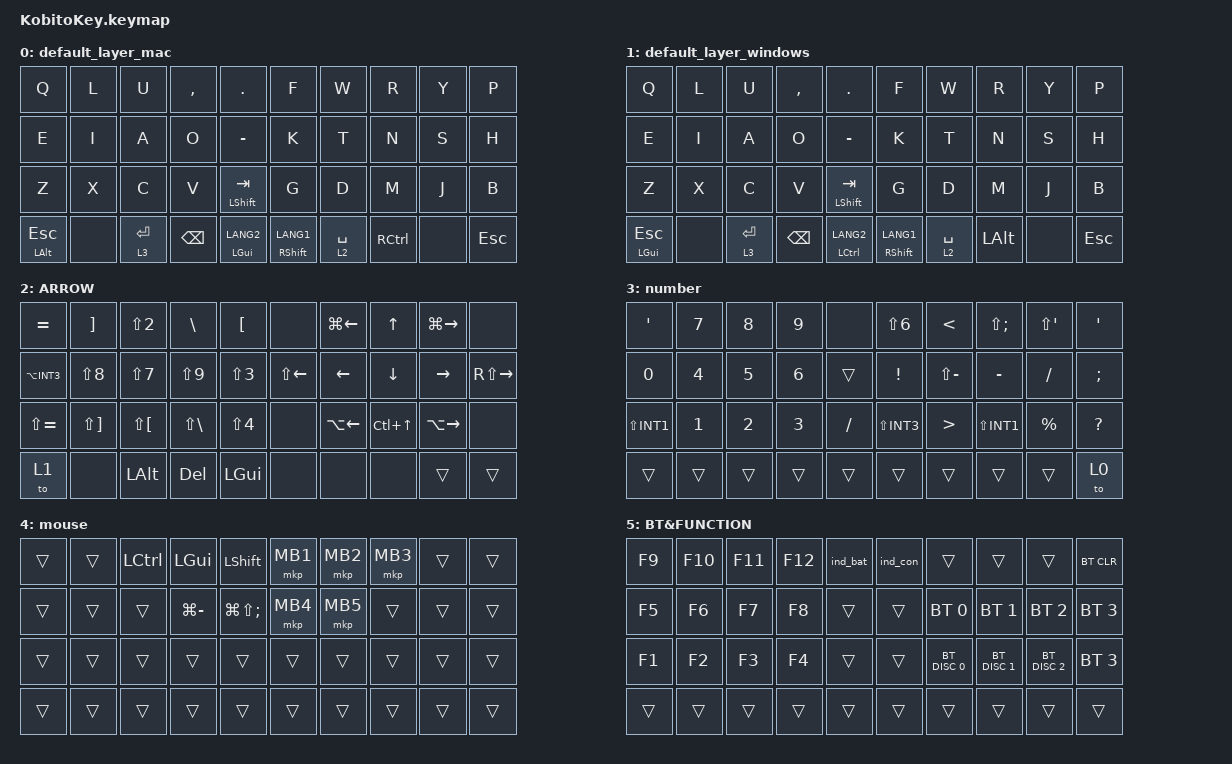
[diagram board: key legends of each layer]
#include <input/processors.dtsi>
#include <behaviors.dtsi>
#include <behaviors/rgbled_widget.dtsi>
#include <dt-bindings/zmk/bt.h>
#include <dt-bindings/zmk/keys.h>
#include <dt-bindings/zmk/pointing.h>

/ {
    combos {
        compatible = "zmk,combos";

        combo_shift {
            timeout-ms = <50>;
            key-positions = <17 18>;
            bindings = <&kp LEFT_SHIFT>;
        };
    };

    keymap {
        compatible = "zmk,keymap";

        default_layer_mac {
            bindings = <
&kp Q                &kp L  &kp U        &kp COMMA      &kp PERIOD          &kp F                  &kp W        &kp R              &kp Y  &kp P
&kp E                &kp I  &kp A        &kp O          &kp MINUS           &kp K                  &kp T        &kp N              &kp S  &kp H
&kp Z                &kp X  &kp C        &kp V          &mt LEFT_SHIFT TAB  &kp G                  &kp D        &kp M              &kp J  &kp B
&mt LEFT_ALT ESCAPE  &none  &lt 3 ENTER  &kp BACKSPACE  &mt LEFT_GUI LANG2  &mt RIGHT_SHIFT LANG1  &lt 2 SPACE  &kp RIGHT_CONTROL  &none  &kp ESCAPE
            >;
        };

        default_layer_windows {
            bindings = <
&kp Q                &kp L  &kp U        &kp COMMA      &kp PERIOD              &kp F                  &kp W        &kp R         &kp Y  &kp P
&kp E                &kp I  &kp A        &kp O          &kp MINUS               &kp K                  &kp T        &kp N         &kp S  &kp H
&kp Z                &kp X  &kp C        &kp V          &mt LEFT_SHIFT TAB      &kp G                  &kp D        &kp M         &kp J  &kp B
&mt LEFT_GUI ESCAPE  &none  &lt 3 ENTER  &kp BACKSPACE  &mt LEFT_CONTROL LANG2  &mt RIGHT_SHIFT LANG1  &lt 2 SPACE  &kp LEFT_ALT  &none  &kp ESCAPE
            >;
        };

        ARROW {
            label = "ARROW";
            bindings = <
&kp EQUAL  &kp RIGHT_BRACKET        &kp LS(N2)  &kp BACKSLASH         &kp LEFT_BRACKET  &none               &kp LG(LEFT_ARROW)  &kp UP_ARROW      &kp LG(RIGHT_ARROW)  &none
&kp LA(INT3)   &kp LS(N8)               &kp LS(N7)  &kp LS(N9)            &kp LS(N3)        &kp LS(LEFT_ARROW)  &kp LEFT_ARROW      &kp DOWN_ARROW    &kp RIGHT_ARROW      &kp RS(RIGHT_ARROW)
&kp LS(EQUAL)  &kp LS(RIGHT_BRACKET)  &kp LS(LEFT_BRACKET)  &kp LS(BACKSLASH)  &kp LS(N4)  &none               &kp LA(LEFT_ARROW)  &kp LC(UP_ARROW)  &kp LA(RIGHT_ARROW)  &none
&to 1          &none                 &kp LEFT_ALT       &kp DELETE             &kp LEFT_GUI  &none               &none               &none             &trans               &trans
            >;
        };

        NUMBER {
            label = "number";
            bindings = <
&kp SQT          &kp N7  &kp N8  &kp N9  &none      &kp LS(N6)    &kp LESS_THAN     &kp LS(SEMI)     &kp LS(SQT)  &kp SQT
&kp N0           &kp N4  &kp N5  &kp N6  &trans     &kp EXCLAMATION  &kp LS(MINUS)     &kp MINUS       &kp FSLH     &kp SEMI
&kp LS(INT1)     &kp N1  &kp N2  &kp N3  &kp SLASH  &kp LS(INT3)     &kp GREATER_THAN  &kp LS(INT1)    &kp PERCENT  &kp QUESTION
&trans          &trans  &trans  &trans  &trans     &trans           &trans            &trans          &trans        &to 0
            >;
        };

        MOUSE {
            label = "mouse";
            bindings = <
&trans  &trans  &kp LEFT_CONTROL  &kp LEFT_GUI   &kp LEFT_SHIFT  &mkp MB1  &mkp MB2  &mkp MB3  &trans  &trans
&trans  &trans  &trans            &kp LG(MINUS)  &kp LG(LS(SEMI))    &mkp MB4  &mkp MB5  &trans    &trans  &trans
&trans  &trans  &trans            &trans         &trans          &trans    &trans    &trans    &trans  &trans
&trans  &trans  &trans            &trans         &trans          &trans    &trans    &trans    &trans  &trans
            >;
        };

        BTandFUNCTION {
            bindings = <
&kp F9  &kp F10  &kp F11  &kp F12  &ind_bat  &ind_con  &trans         &trans         &trans         &bt BT_CLR
&kp F5  &kp F6   &kp F7   &kp F8   &trans  &trans  &bt BT_SEL 0   &bt BT_SEL 1   &bt BT_SEL 2   &bt BT_SEL 3
&kp F1  &kp F2   &kp F3   &kp F4   &trans  &trans  &bt BT_DISC 0  &bt BT_DISC 1  &bt BT_DISC 2  &bt BT_SEL 3
&trans  &trans   &trans   &trans   &trans  &trans  &trans         &trans         &trans         &trans
            >;

            label = "BT&FUNCTION";
        };
    };

    conditional_layers {
        compatible = "zmk,conditional-layers";

        BTandFUNCTION {
            if-layers = <2 3>;
            then-layer = <5>;
        };
    };
};
